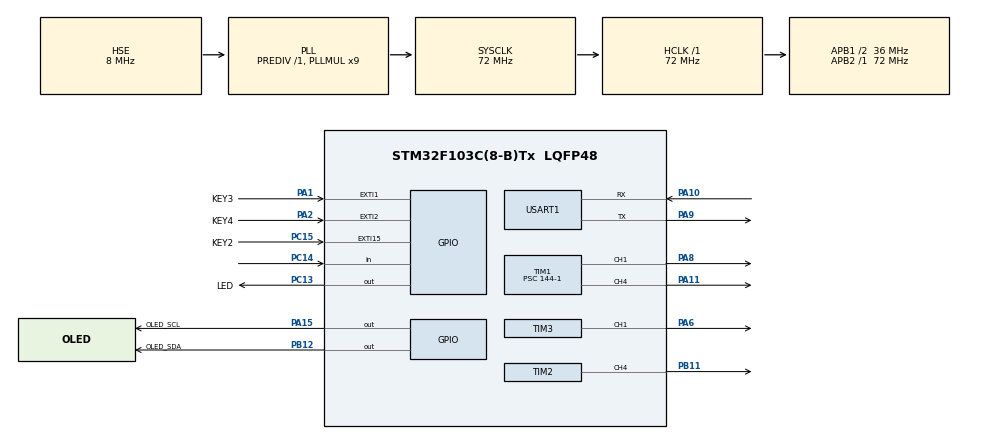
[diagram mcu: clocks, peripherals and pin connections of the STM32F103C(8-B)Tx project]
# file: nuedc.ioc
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Mcu.Family=STM32F1
Mcu.Name=STM32F103C(8-B)Tx
Mcu.Package=LQFP48
NVIC.EXTI15_10_IRQn=true\:0\:0\:false\:false\:true\:true\:true\:true
NVIC.EXTI1_IRQn=true\:0\:0\:false\:false\:true\:true\:true\:true
NVIC.EXTI2_IRQn=true\:0\:0\:false\:false\:true\:true\:true\:true
NVIC.PriorityGroup=NVIC_PRIORITYGROUP_4
NVIC.TIM3_IRQn=true\:0\:0\:false\:false\:true\:true\:true\:true
NVIC.USART1_IRQn=true\:0\:0\:false\:false\:true\:true\:true\:true
PA1.GPIO_Label=KEY3
PA1.GPIO_PuPd=GPIO_PULLUP
PA1.Signal=GPXTI1
PA10.Mode=Asynchronous
PA10.Signal=USART1_RX
PA11.Signal=S_TIM1_CH4
PA13.Mode=Serial_Wire
PA13.Signal=SYS_JTMS-SWDIO
PA14.Mode=Serial_Wire
PA14.Signal=SYS_JTCK-SWCLK
PA15.GPIO_Label=OLED_SCL
PA15.GPIO_PuPd=GPIO_PULLUP
PA15.PinState=GPIO_PIN_SET
PA15.Signal=GPIO_Output
PA2.GPIO_Label=KEY4
PA2.GPIO_PuPd=GPIO_PULLUP
PA2.Signal=GPXTI2
PA6.Signal=S_TIM3_CH1
PA8.Signal=S_TIM1_CH1
PA9.Mode=Asynchronous
PA9.Signal=USART1_TX
PB11.Signal=S_TIM2_CH4
PB12.GPIO_Label=OLED_SDA
PB12.GPIO_PuPd=GPIO_PULLUP
PB12.PinState=GPIO_PIN_SET
PB12.Signal=GPIO_Output
PC13-TAMPER-RTC.GPIO_Label=LED
PC13-TAMPER-RTC.Signal=GPIO_Output
PC14-OSC32_IN.GPIO_PuPd=GPIO_NOPULL
PC14-OSC32_IN.Signal=GPIO_Input
PC15-OSC32_OUT.GPIO_Label=KEY2
PC15-OSC32_OUT.GPIO_PuPd=GPIO_PULLUP
PC15-OSC32_OUT.Signal=GPXTI15
PD0-OSC_IN.Mode=HSE-External-Oscillator
PD0-OSC_IN.Signal=RCC_OSC_IN
PD1-OSC_OUT.Mode=HSE-External-Oscillator
PD1-OSC_OUT.Signal=RCC_OSC_OUT
ProjectManager.HeapSize=0x200
ProjectManager.StackSize=0x400
ProjectManager.TargetToolchain=MDK-ARM V5.32
RCC.AHBFreq_Value=72000000
RCC.APB1CLKDivider=RCC_HCLK_DIV2
RCC.APB1Freq_Value=36000000
RCC.APB1TimFreq_Value=72000000
RCC.APB2Freq_Value=72000000
RCC.APB2TimFreq_Value=72000000
RCC.HCLKFreq_Value=72000000
RCC.PLLMUL=RCC_PLL_MUL9
RCC.PLLSourceVirtual=RCC_PLLSOURCE_HSE
RCC.SYSCLKFreq_VALUE=72000000
RCC.SYSCLKSource=RCC_SYSCLKSOURCE_PLLCLK
RCC.USBFreq_Value=72000000
SH.S_TIM1_CH1.0=TIM1_CH1,PWM Generation1 CH1
SH.S_TIM1_CH4.0=TIM1_CH4,PWM Generation4 CH4
SH.S_TIM2_CH4.0=TIM2_CH4,PWM Generation4 CH4
SH.S_TIM3_CH1.0=TIM3_CH1,PWM Generation1 CH1
TIM1.AutoReloadPreload=TIM_AUTORELOAD_PRELOAD_ENABLE
TIM1.Channel-PWM\ Generation1\ CH1=TIM_CHANNEL_1
TIM1.Channel-PWM\ Generation4\ CH4=TIM_CHANNEL_4
TIM1.Period=10000-1
TIM1.Prescaler=144-1
TIM1.Pulse-PWM\ Generation1\ CH1=50
TIM2.AutoReloadPreload=TIM_AUTORELOAD_PRELOAD_ENABLE
TIM2.Channel-PWM\ Generation4\ CH4=TIM_CHANNEL_4
TIM2.Period=10000-1
TIM2.Prescaler=144-1
TIM3.AutoReloadPreload=TIM_AUTORELOAD_PRELOAD_ENABLE
TIM3.Channel-PWM\ Generation1\ CH1=TIM_CHANNEL_1
TIM3.Period=10000-1
TIM3.Prescaler=144-1
USART1.VirtualMode=VM_ASYNC
VP_TIM1_VS_ClockSourceINT.Mode=Internal
VP_TIM2_VS_ClockSourceINT.Mode=Internal
VP_TIM3_VS_ClockSourceINT.Mode=Internal
board=custom

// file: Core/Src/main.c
/* USER CODE BEGIN Header */
/**
  ******************************************************************************
  * @file           : main.c
  * @brief          : Main program body
  ******************************************************************************
  * @attention
  *
  * Copyright (c) 2023 STMicroelectronics.
  * All rights reserved.
  *
  * This software is licensed under terms that can be found in the LICENSE file
  * in the root directory of this software component.
  * If no LICENSE file comes with this software, it is provided AS-IS.
  *
  ******************************************************************************
  */
/* USER CODE END Header */
#include "main.h"
#include "tim.h"
#include "usart.h"
#include "gpio.h"

/* USER CODE BEGIN Includes */

#include "stdio.h"
#include "oled.h"
#include "paixu.h"
#include "pid.h"
/* USER CODE END Includes */

/* USER CODE BEGIN PTD */
//uint8_t rx_data[1];
uint8_t g_ucUsart1ReceiveData;

 uint8_t state = 0;
uint8_t g_ucaUsart2ReceiveBuffer[20];//保存串口接收有效数据的数组
uint8_t g_ucUsart1ReceivCounter=0;//串口接收计数值
uint8_t g_ucUsart1ReceiveCompletionFlag;//串口二接收完成标志位 1:接收完成 可以进行处理 0:接收未完成或者接受中

uint8_t key_flag=0;

//extern ServoState gensui;

//extern tPid pidFollow_x;    //定距离跟随PID
//extern tPid pidFollow_y;

extern Loc_PID Loc_pid; //存放PID算法所需要的数据
extern Spe_PID Spe_pid;
uint8_t test=0;
#define speed_move  100//100
/* USER CODE END PTD */

void SystemClock_Config(void);

int main(void)
{
  /* USER CODE BEGIN 1 */
uint8_t string[20];
  uint8_t  flag = 1;
    int i = 0;
  /* USER CODE END 1 */

  /* MCU Configuration--------------------------------------------------------*/

  /* Reset of all peripherals, Initializes the Flash interface and the Systick. */
  HAL_Init();

  /* Configure the system clock */
  SystemClock_Config();

  /* Initialize all configured peripherals */
  MX_GPIO_Init();
  MX_TIM1_Init();
  MX_USART1_UART_Init();
  MX_TIM3_Init();
  MX_TIM2_Init();
  /* USER CODE BEGIN 2 */
    PID_Init();
	OLED_Init(); //初始化OLED
    OLED_Clear();//清屏

   HAL_UART_Receive_IT(&huart1, &g_ucUsart1ReceiveData, 1);//串口接收中断

		//舵机
//  HAL_TIM_PWM_Start(&htim1,TIM_CHANNEL_1);//开启定时器1 通道1 PWM输出
//  HAL_TIM_PWM_Start(&htim1,TIM_CHANNEL_4);//开启定时器1 通道4 PWM输出
    HAL_TIM_PWM_Start(&htim3,TIM_CHANNEL_1);//开启定时器1 通道4 PWM输出
    HAL_TIM_PWM_Start(&htim2,TIM_CHANNEL_4);//开启定时器1 通道4 PWM输出
   __HAL_TIM_SET_COMPARE(&htim3, TIM_CHANNEL_1, 950);  // 竖直PA6 750
   __HAL_TIM_SET_COMPARE(&htim2, TIM_CHANNEL_4, 750);

/////////////////////////////////////////////////////////////////测试区

/////////////////////////////////////////////////////////////////测试区

  /* USER CODE END 2 */

  /* Infinite loop */
  /* USER CODE BEGIN WHILE */
  while (1)
  {

 //test=HAL_GPIO_ReadPin(GPIOC,GPIO_PIN_14);

   __HAL_TIM_SET_COMPARE(&htim3, TIM_CHANNEL_1, Spe_PID_output(g_ucaUsart2ReceiveBuffer[3],g_ucaUsart2ReceiveBuffer[5]));  //g_ucaUsart2ReceiveBuffer[5]水平 PA11 750PID_realize(&pidFollow,float Green_actual_val,float Red_target_val)
//    printf("1X:%d\n 2X:%d\n %d\n  ",g_ucaUsart2ReceiveBuffer[3],g_ucaUsart2ReceiveBuffer[5],Spe_PID_output(g_ucaUsart2ReceiveBuffer[3],g_ucaUsart2ReceiveBuffer[5]));

    printf("\r\n");
      __HAL_TIM_SET_COMPARE(&htim2, TIM_CHANNEL_4, Loc_PID_output (g_ucaUsart2ReceiveBuffer[2],g_ucaUsart2ReceiveBuffer[4]));  //g_ucaUsart2ReceiveBuffer[4])水平 PA11 750PID_realize(&pidFollow,float Green_actual_val,float Red_target_val)
//     printf("Y:%d\r\n",Loc_PID_output (g_ucaUsart2ReceiveBuffer[2],g_ucaUsart2ReceiveBuffer[4]));
    printf("1Y:%d\n 2Y:%d\n %d\n  ",abs(g_ucaUsart2ReceiveBuffer[2]-g_ucaUsart2ReceiveBuffer[4]),abs(g_ucaUsart2ReceiveBuffer[3]-g_ucaUsart2ReceiveBuffer[5]),Spe_PID_output(g_ucaUsart2ReceiveBuffer[2],g_ucaUsart2ReceiveBuffer[4]));

//if((abs(g_ucaUsart2ReceiveBuffer[2]-g_ucaUsart2ReceiveBuffer[4])<20&&abs(g_ucaUsart2ReceiveBuffer[3]-g_ucaUsart2ReceiveBuffer[5])<20)){
//            i++;
//          flag = 0;

//    }

//test=1;

}

//shunshizhen_4paixv_change();
//while (HAL_GPIO_ReadPin(GPIOC,GPIO_PIN_14 )==RESET)
//{
//
//}
//

//
//      /*PC15 低片平触发，复位*/
//        if(key_flag==2)
//      {
//      slow_motion (250, 0, 240, 0,0);
//
//      key_flag=0;
//       }
//      shunshizhen_4paixv_change();
//        if(key_flag==3)
//      {
//      shunshizhen_4paixv_change();
//          change_pwmset();
//      key_flag=0;
//       }
//
////
//
//
//
//
//				for(int i=0;i<20;i++) g_ucaUsart2ReceiveBuffer[i]=0x00;//清空数组
//				g_ucUsart1ReceiveCompletionFlag = 0;//使用数据后置为0
//			}
//
//
//
///////////////////////////////////////////////////////////////////测试区 随意删除不影响系统
//
//HAL_GPIO_TogglePin(GPIOC,GPIO_PIN_13);
//

		//test=0;

/////////////////////////////////////////////////////////////////测试区
    /* USER CODE END WHILE */

  }

void SystemClock_Config(void)
{
  RCC_OscInitTypeDef RCC_OscInitStruct = {0};
  RCC_ClkInitTypeDef RCC_ClkInitStruct = {0};

  /** Initializes the RCC Oscillators according to the specified parameters
  * in the RCC_OscInitTypeDef structure.
  */
  RCC_OscInitStruct.OscillatorType = RCC_OSCILLATORTYPE_HSE;
  RCC_OscInitStruct.HSEState = RCC_HSE_ON;
  RCC_OscInitStruct.HSEPredivValue = RCC_HSE_PREDIV_DIV1;
  RCC_OscInitStruct.HSIState = RCC_HSI_ON;
  RCC_OscInitStruct.PLL.PLLState = RCC_PLL_ON;
  RCC_OscInitStruct.PLL.PLLSource = RCC_PLLSOURCE_HSE;
  RCC_OscInitStruct.PLL.PLLMUL = RCC_PLL_MUL9;
  if (HAL_RCC_OscConfig(&RCC_OscInitStruct) != HAL_OK)
  {
    Error_Handler();
  }

  /** Initializes the CPU, AHB and APB buses clocks
  */
  RCC_ClkInitStruct.ClockType = RCC_CLOCKTYPE_HCLK|RCC_CLOCKTYPE_SYSCLK
                              |RCC_CLOCKTYPE_PCLK1|RCC_CLOCKTYPE_PCLK2;
  RCC_ClkInitStruct.SYSCLKSource = RCC_SYSCLKSOURCE_PLLCLK;
  RCC_ClkInitStruct.AHBCLKDivider = RCC_SYSCLK_DIV1;
  RCC_ClkInitStruct.APB1CLKDivider = RCC_HCLK_DIV2;
  RCC_ClkInitStruct.APB2CLKDivider = RCC_HCLK_DIV1;

  if (HAL_RCC_ClockConfig(&RCC_ClkInitStruct, FLASH_LATENCY_2) != HAL_OK)
  {
    Error_Handler();
  }
}

/* USER CODE BEGIN 4 */
//////////////////////////////////////////////////////////////////////////////

/*串口中断回调函数*/
void HAL_UART_RxCpltCallback(UART_HandleTypeDef *huart)
{
  if (huart == &huart1)
  {

		//
		usartCamera_Receive_Data(g_ucUsart1ReceiveData);//通信处理功能

  }
	 HAL_UART_Receive_IT(&huart1, &g_ucUsart1ReceiveData, 1);
}

void usartCamera_Receive_Data(uint8_t data)
{
//	static uint8_t state = 0;
	if(state==0&&data==0xA5) //第一个是不是帧头0xA5
	{
		state=1;
		g_ucaUsart2ReceiveBuffer[g_ucUsart1ReceivCounter++]=data;
		HAL_UART_Receive_IT(&huart1,&g_ucUsart1ReceiveData,1);  //串口二接收数据
	}
	else if(state==1&&data==0xA6) //第二个是不是帧头0xA6
	{
		state=2;
		g_ucaUsart2ReceiveBuffer[g_ucUsart1ReceivCounter++]=data;
		HAL_UART_Receive_IT(&huart1,&g_ucUsart1ReceiveData,1);  //串口二接收数据
	}
	else if(state==2)//然后确定开头是0XA5 0XA6 就开始接收
	{
		g_ucaUsart2ReceiveBuffer[g_ucUsart1ReceivCounter++]=data;
		if(g_ucUsart1ReceivCounter>14||data==0x5B) state=3;  //接收大于9个或者接收到帧尾0X5B 就置位状态三
		HAL_UART_Receive_IT(&huart1,&g_ucUsart1ReceiveData,1);  //串口二接收数据
	}
	else if(state==3) //状态三
	{
		if(g_ucaUsart2ReceiveBuffer[g_ucUsart1ReceivCounter-1] == 0x5B)  //最后一个是不是0x5B帧尾
		{
			state = 0;//这里就可以处理数据了、处理完记得清空数组和重置标志位与计数值
			//比如根据数据设置红外旋转偏移状态
//			if(g_ucMode == 7)
//			{
				//1.设置快速 慢速右边 左边&&g_ucaUsart2ReceiveBuffer[4]==1

				/**
				 if(g_ucaUsart2ReceiveBuffer[6]==0&&g_ucaUsart2ReceiveBuffer[5]==0&&g_ucaUsart2ReceiveBuffer[3]==0&&g_ucaUsart2ReceiveBuffer[2]==0)
				 {g_cThisState=0;//前进
				 g_lHW_State=00200;
				 }
				 if(g_ucaUsart2ReceiveBuffer[6]==0&&g_ucaUsart2ReceiveBuffer[5]==1&&g_ucaUsart2ReceiveBuffer[3]==0&&g_ucaUsart2ReceiveBuffer[2]==0)
				 {g_cThisState=-1;//应该右转
				 g_lHW_State=00210;
				 }
				 if(g_ucaUsart2ReceiveBuffer[6]==1&&g_ucaUsart2ReceiveBuffer[5]==0&&g_ucaUsart2ReceiveBuffer[3]==0&&g_ucaUsart2ReceiveBuffer[2]==0)
				 {g_cThisState=-2;//快速右转
				 g_lHW_State=00201;
				 }
				 if(g_ucaUsart2ReceiveBuffer[6]==1&&g_ucaUsart2ReceiveBuffer[5]==1&&g_ucaUsart2ReceiveBuffer[3]==0&&g_ucaUsart2ReceiveBuffer[2]==0)
				 {g_cThisState=-3;//快速右转
				 g_lHW_State=00211;
				 }
				 if(g_ucaUsart2ReceiveBuffer[6]==0&&g_ucaUsart2ReceiveBuffer[5]==0&&g_ucaUsart2ReceiveBuffer[3]==1&&g_ucaUsart2ReceiveBuffer[2]==0)
				 {g_cThisState=1;//应该左转
				 g_lHW_State=01200;
				 }
                 if(g_ucaUsart2ReceiveBuffer[6]==0&&g_ucaUsart2ReceiveBuffer[5]==0&&g_ucaUsart2ReceiveBuffer[3]==0&&g_ucaUsart2ReceiveBuffer[2]==1)
				 {g_cThisState=2;//快速左转
				 g_lHW_State=10200;
				 }
                 if(g_ucaUsart2ReceiveBuffer[6]==0&&g_ucaUsart2ReceiveBuffer[5]==0&&g_ucaUsart2ReceiveBuffer[3]==1&&g_ucaUsart2ReceiveBuffer[2]==1)
				 {g_cThisState=3;//快速左转
				 g_lHW_State=1;
				 }
				 //如果都是红线 都是1 就置为相应变量 表示停止运行等
				 if(g_ucaUsart2ReceiveBuffer[6]==1&&g_ucaUsart2ReceiveBuffer[5]==1&&g_ucaUsart2ReceiveBuffer[4]==1&&g_ucaUsart2ReceiveBuffer[3]==1&&g_ucaUsart2ReceiveBuffer[2]==1)g_lHW_State=11111;

				 //五个点都没有的时候认为走到了尽头
				 if(g_ucaUsart2ReceiveBuffer[6]==0&&g_ucaUsart2ReceiveBuffer[5]==0&&g_ucaUsart2ReceiveBuffer[4]==0&&g_ucaUsart2ReceiveBuffer[3]==0&&g_ucaUsart2ReceiveBuffer[2]==0)g_lHW_State=0;
				 //只有中间是红线时候
				 if(g_ucaUsart2ReceiveBuffer[6]==0&&g_ucaUsart2ReceiveBuffer[5]==0&&g_ucaUsart2ReceiveBuffer[4]==1&&g_ucaUsart2ReceiveBuffer[3]==0&&g_ucaUsart2ReceiveBuffer[2]==0)g_lHW_State=100;

				 **/
				//2.然后清空数组
//				for(int i=0;i<10;i++) g_ucaUsart2ReceiveBuffer[i]=0x00;//清空数组
				g_ucUsart1ReceiveCompletionFlag = 1;
				//3.然后开始接收
				HAL_UART_Receive_IT(&huart1,&g_ucUsart1ReceiveData,1);  //串口二接收数据
//			}
		}
		else //不是帧尾说明通信错误重新开始接收
		{
			state=0;
			g_ucUsart1ReceivCounter =0;
			//for(int i=0;i<10;i++) g_ucaUsart2ReceiveBuffer[i]=0x00;//清空数组
			g_ucUsart1ReceiveCompletionFlag = 0;
			HAL_UART_Receive_IT(&huart1,&g_ucUsart1ReceiveData,1);  //串口二接收数据
		}
	}
	else
	{	//其他异常清空
		state=0;
		g_ucUsart1ReceivCounter =0;
		//for(int i=0;i<10;i++) g_ucaUsart2ReceiveBuffer[i]=0x00;//清空数组
		g_ucUsart1ReceiveCompletionFlag = 0;
		HAL_UART_Receive_IT(&huart1,&g_ucUsart1ReceiveData,1);  //串口二接收数据
	}
}

/*PC15 低片平触发*/
/*扫框程序*/
//void HAL_GPIO_EXTI_Callback(uint16_t GPIO_Pin)
//{

//if(GPIO_Pin == KEY2_Pin){//判断一下那个引脚触发中断
////这里编写触发中断后要执行的程序
//
//	  slow_motion (0, -250, 0, 0,1);
//      slow_motion (-250, -250, 0, 500,1);
//      slow_motion (-250, 250, 500, 500,1);
//      slow_motion (250, 250, 500, 0,1);
//      slow_motion (250, 0, 0, 0,1);
////	printf("key");
//
//HAL_GPIO_TogglePin(GPIOC,GPIO_PIN_13);//切换LED GPIO状态
//}
//}

/* USER CODE END 4 */

void Error_Handler(void)
{
  __disable_irq();
  while (1)
  {
  }
}
